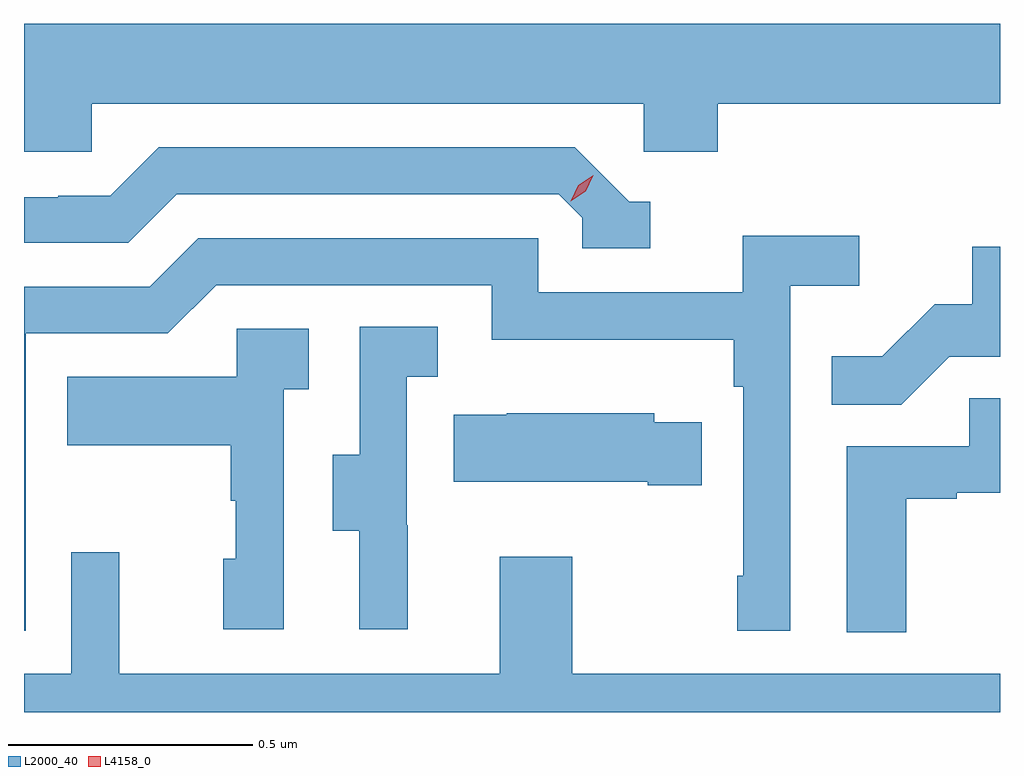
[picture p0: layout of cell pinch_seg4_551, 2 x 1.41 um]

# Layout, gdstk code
import gdstk
lib = gdstk.Library(unit=1e-6, precision=1e-09)
def P(c, l, *ps):  # polygons
    for p in ps: c.add(gdstk.Polygon(p, *l))
L2000_40 = (2000, 40)
L4158_0 = (4158, 0)

pinch_seg4_551 = lib.new_cell('pinch_seg4_551')
P(pinch_seg4_551, L2000_40, [(1120.857,786.164),(1121.988,786.164),(1121.988,786.066),(1122.14,786.066),(1122.14,786.164),(1122.718,786.164),(1122.718,786.328),(1120.718,786.328),(1120.718,786.066),(1120.857,786.066)],
  [(1122.001,785.964),(1121.958,785.964),(1121.847,786.075),(1120.994,786.075),(1120.895,785.976),(1120.788,785.976),(1120.788,785.973),(1120.718,785.973),(1120.718,785.88),(1120.932,785.88),(1121.031,785.979),(1121.814,785.979),(1121.862,785.931),(1121.862,785.868),(1122.001,785.868)],
  [(1120.722,785.694),(1121.013,785.694),(1121.112,785.793),(1121.676,785.793),(1121.676,785.681),(1122.172,785.681),(1122.172,785.585),(1122.192,785.585),(1122.192,785.197),(1122.18,785.197),(1122.18,785.085),(1122.288,785.085),(1122.288,785.792),(1122.43,785.792),(1122.43,785.894),(1122.191,785.894),(1122.191,785.778),(1121.772,785.778),(1121.772,785.889),(1121.075,785.889),(1120.976,785.79),(1120.718,785.79),(1120.718,785.085),(1120.722,785.085)],
  [(1122.614,785.646),(1122.718,785.646),(1122.718,785.871),(1122.661,785.871),(1122.661,785.754),(1122.584,785.754),(1122.477,785.647),(1122.373,785.647),(1122.373,785.548),(1122.516,785.548)],
  [(1121.504,785.301),(1121.502,785.301),(1121.502,785.605),(1121.566,785.605),(1121.566,785.708),(1121.406,785.708),(1121.406,785.445),(1121.351,785.445),(1121.351,785.29),(1121.405,785.29),(1121.405,785.088),(1121.504,785.088)],
  [(1121.25,785.579),(1121.302,785.579),(1121.302,785.703),(1121.154,785.703),(1121.154,785.605),(1120.807,785.605),(1120.807,785.465),(1121.142,785.465),(1121.142,785.351),(1121.152,785.351),(1121.152,785.232),(1121.126,785.232),(1121.126,785.088),(1121.25,785.088)],
  [(1122.526,785.355),(1122.629,785.355),(1122.629,785.367),(1122.718,785.367),(1122.718,785.561),(1122.655,785.561),(1122.655,785.463),(1122.404,785.463),(1122.404,785.081),(1122.526,785.081)],
  [(1122.107,785.512),(1122.009,785.512),(1122.009,785.53),(1121.707,785.53),(1121.707,785.527),(1121.599,785.527),(1121.599,785.39),(1121.996,785.39),(1121.996,785.383),(1122.107,785.383)],
  [(1121.693,785.236),(1121.693,784.996),(1120.913,784.996),(1120.913,785.245),(1120.815,785.245),(1120.815,784.996),(1120.718,784.996),(1120.718,784.918),(1122.718,784.918),(1122.718,784.996),(1121.841,784.996),(1121.841,785.236)])
P(pinch_seg4_551, L4158_0, [(1121.838,785.965),(1121.838,785.965),(1121.854,785.998),(1121.884,786.018),(1121.884,786.018),(1121.884,786.018),(1121.869,785.985),(1121.838,785.965)])

lib.write_gds('pinch_seg4_551.gds')
